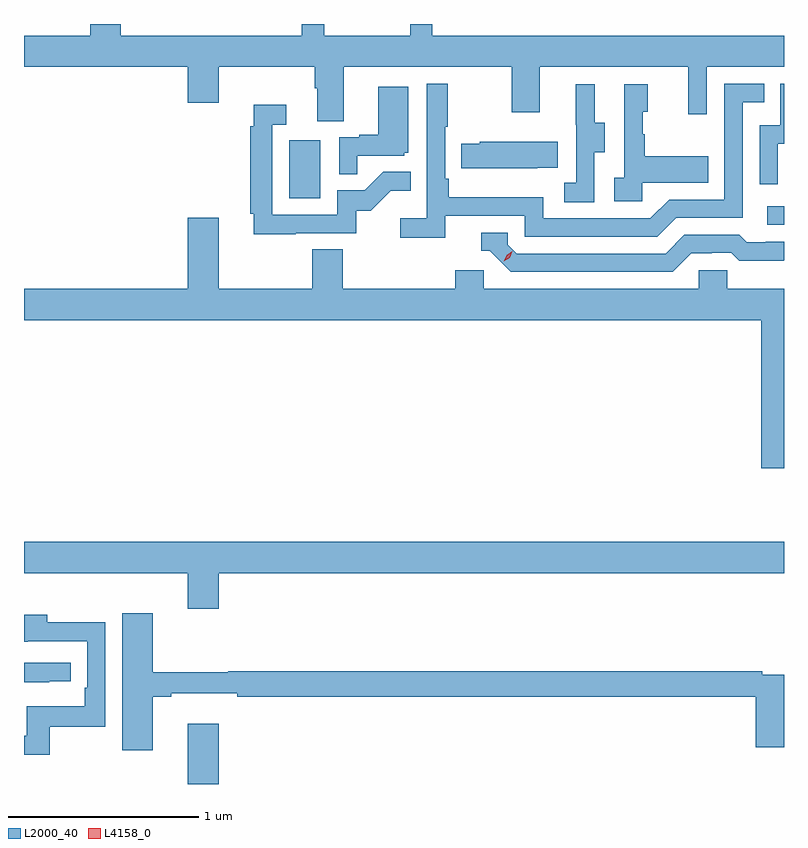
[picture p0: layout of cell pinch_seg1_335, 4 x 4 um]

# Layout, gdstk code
import gdstk
lib = gdstk.Library(unit=1e-6, precision=1e-09)
def R(c, l, rs):  # rectangles x0, y0, x1, y1
    for r in rs: c.add(gdstk.rectangle(r[:2], r[2:], *l))
def P(c, l, *ps):  # polygons
    for p in ps: c.add(gdstk.Polygon(p, *l))
L2000_40 = (2000, 40)
L4158_0 = (4158, 0)

pinch_seg1_335 = lib.new_cell('pinch_seg1_335')
R(pinch_seg1_335, L2000_40, [(956.216,541.298,956.38,541.615), (959.265,544.242,959.354,544.338), (956.75,544.38,956.914,544.687)])
P(pinch_seg1_335, L2000_40, [(957.386,545.298),(957.386,545.236),(956.933,545.236),(956.933,545.298),(956.815,545.298),(956.815,545.236),(955.862,545.236),(955.862,545.298),(955.702,545.298),(955.702,545.236),(955.354,545.236),(955.354,545.072),(956.216,545.072),(956.216,544.884),(956.38,544.884),(956.38,545.072),(956.885,545.072),(956.885,544.96),(956.897,544.96),(956.897,544.786),(957.037,544.786),(957.037,545.072),(957.922,545.072),(957.922,544.833),(958.069,544.833),(958.069,545.072),(958.85,545.072),(958.85,544.824),(958.947,544.824),(958.947,545.072),(959.354,545.072),(959.354,545.236),(957.503,545.236),(957.503,545.298)],
  [(957.572,544.29),(957.99,544.29),(957.99,544.179),(958.687,544.179),(958.786,544.278),(959.136,544.278),(959.136,544.887),(959.249,544.887),(959.249,544.983),(959.04,544.983),(959.04,544.374),(958.749,544.374),(958.65,544.275),(958.086,544.275),(958.086,544.387),(957.59,544.387),(957.59,544.483),(957.57,544.483),(957.57,544.756),(957.583,544.756),(957.583,544.984),(957.474,544.984),(957.474,544.276),(957.333,544.276),(957.333,544.174),(957.572,544.174)],
  [(959.322,544.667),(959.354,544.667),(959.354,544.983),(959.334,544.983),(959.334,544.764),(959.226,544.764),(959.226,544.455),(959.322,544.455)],
  [(958.608,544.463),(958.955,544.463),(958.955,544.603),(958.621,544.603),(958.621,544.718),(958.611,544.718),(958.611,544.836),(958.636,544.836),(958.636,544.981),(958.512,544.981),(958.512,544.49),(958.461,544.49),(958.461,544.365),(958.608,544.365)],
  [(958.356,544.624),(958.411,544.624),(958.411,544.779),(958.357,544.779),(958.357,544.981),(958.259,544.981),(958.259,544.767),(958.26,544.767),(958.26,544.463),(958.197,544.463),(958.197,544.36),(958.356,544.36)],
  [(957.107,544.605),(957.354,544.605),(957.354,544.62),(957.376,544.62),(957.376,544.969),(957.218,544.969),(957.218,544.714),(957.119,544.714),(957.119,544.701),(957.012,544.701),(957.012,544.507),(957.107,544.507)],
  [(956.783,544.197),(957.102,544.197),(957.102,544.314),(957.178,544.314),(957.285,544.421),(957.389,544.421),(957.389,544.52),(957.245,544.52),(957.147,544.422),(957.003,544.422),(957.003,544.293),(956.661,544.293),(956.661,544.767),(956.734,544.767),(956.734,544.873),(956.564,544.873),(956.564,544.76),(956.545,544.76),(956.545,544.3),(956.564,544.3),(956.564,544.192),(956.783,544.192)],
  [(958.055,544.541),(958.163,544.541),(958.163,544.678),(957.753,544.678),(957.753,544.668),(957.655,544.668),(957.655,544.538),(958.055,544.538)],
  [(958.867,544.092),(958.974,544.092),(958.974,544.095),(959.077,544.095),(959.119,544.053),(959.352,544.053),(959.352,544.055),(959.354,544.055),(959.354,544.152),(959.257,544.152),(959.257,544.149),(959.158,544.149),(959.119,544.188),(958.83,544.188),(958.731,544.089),(957.948,544.089),(957.9,544.137),(957.9,544.2),(957.761,544.2),(957.761,544.104),(957.804,544.104),(957.915,543.993),(958.768,543.993)],
  [(959.055,544.002),(958.905,544.002),(958.905,543.904),(957.774,543.904),(957.774,544.002),(957.623,544.002),(957.623,543.904),(957.032,543.904),(957.032,544.112),(956.872,544.112),(956.872,543.904),(956.38,543.904),(956.38,544.279),(956.216,544.279),(956.216,543.904),(955.354,543.904),(955.354,543.74),(959.234,543.74),(959.234,542.961),(959.354,542.961),(959.354,543.904),(959.055,543.904)],
  [(955.354,542.408),(956.216,542.408),(956.216,542.22),(956.38,542.22),(956.38,542.408),(959.354,542.408),(959.354,542.572),(955.354,542.572)],
  [(956.032,541.756),(956.128,541.756),(956.128,541.775),(956.476,541.775),(956.476,541.756),(959.204,541.756),(959.204,541.491),(959.354,541.491),(959.354,541.872),(959.24,541.872),(959.24,541.892),(956.428,541.892),(956.428,541.885),(956.032,541.885),(956.032,542.197),(955.871,542.197),(955.871,541.476),(956.032,541.476)],
  [(955.489,541.599),(955.782,541.599),(955.782,542.15),(955.477,542.15),(955.477,542.188),(955.354,542.188),(955.354,542.048),(955.373,542.048),(955.373,542.049),(955.686,542.049),(955.686,541.804),(955.673,541.804),(955.673,541.708),(955.368,541.708),(955.368,541.553),(955.354,541.553),(955.354,541.452),(955.489,541.452)],
  [(955.487,541.839),(955.6,541.839),(955.6,541.935),(955.354,541.935),(955.354,541.834),(955.487,541.834)])
P(pinch_seg1_335, L4158_0, [(957.879,544.049),(957.879,544.049),(957.895,544.082),(957.925,544.102),(957.925,544.102),(957.925,544.101),(957.91,544.069),(957.879,544.049)])

lib.write_gds('pinch_seg1_335.gds')
